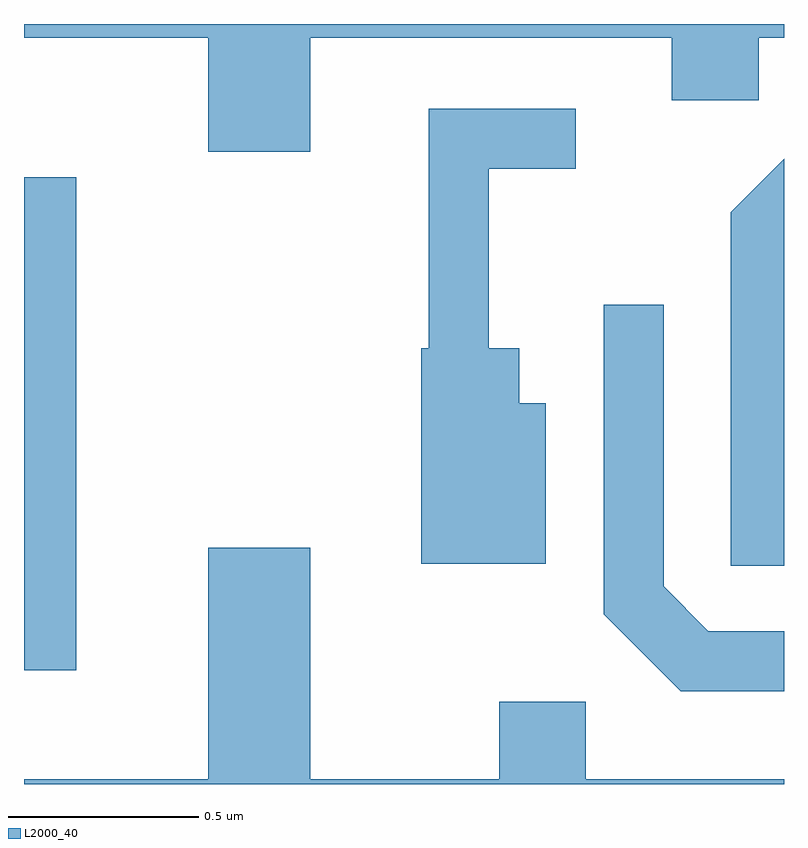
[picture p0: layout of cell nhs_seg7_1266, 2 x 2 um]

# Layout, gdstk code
import gdstk
lib = gdstk.Library(unit=1e-6, precision=1e-09)
def R(c, l, rs):  # rectangles x0, y0, x1, y1
    for r in rs: c.add(gdstk.rectangle(r[:2], r[2:], *l))
def P(c, l, *ps):  # polygons
    for p in ps: c.add(gdstk.Polygon(p, *l))
L2000_40 = (2000, 40)

nhs_seg7_1266 = lib.new_cell('nhs_seg7_1266')
R(nhs_seg7_1266, L2000_40, [(194.611,1701.551,194.749,1702.849)])
P(nhs_seg7_1266, L2000_40, [(195.364,1703.216),(196.316,1703.216),(196.316,1703.051),(196.544,1703.051),(196.544,1703.216),(196.611,1703.216),(196.611,1703.252),(194.611,1703.252),(194.611,1703.216),(195.096,1703.216),(195.096,1702.916),(195.364,1702.916)],
  [(195.984,1702.254),(195.914,1702.254),(195.914,1702.399),(195.834,1702.399),(195.834,1702.871),(196.063,1702.871),(196.063,1703.029),(195.676,1703.029),(195.676,1702.399),(195.656,1702.399),(195.656,1701.831),(195.984,1701.831)],
  [(196.611,1702.897),(196.471,1702.757),(196.471,1701.826),(196.611,1701.826)],
  [(196.611,1701.654),(196.412,1701.654),(196.294,1701.772),(196.294,1702.513),(196.136,1702.513),(196.136,1701.699),(196.339,1701.496),(196.611,1701.496)],
  [(196.611,1701.264),(196.089,1701.264),(196.089,1701.469),(195.861,1701.469),(195.861,1701.264),(195.364,1701.264),(195.364,1701.874),(195.096,1701.874),(195.096,1701.264),(194.611,1701.264),(194.611,1701.252),(196.611,1701.252)])

lib.write_gds('nhs_seg7_1266.gds')
